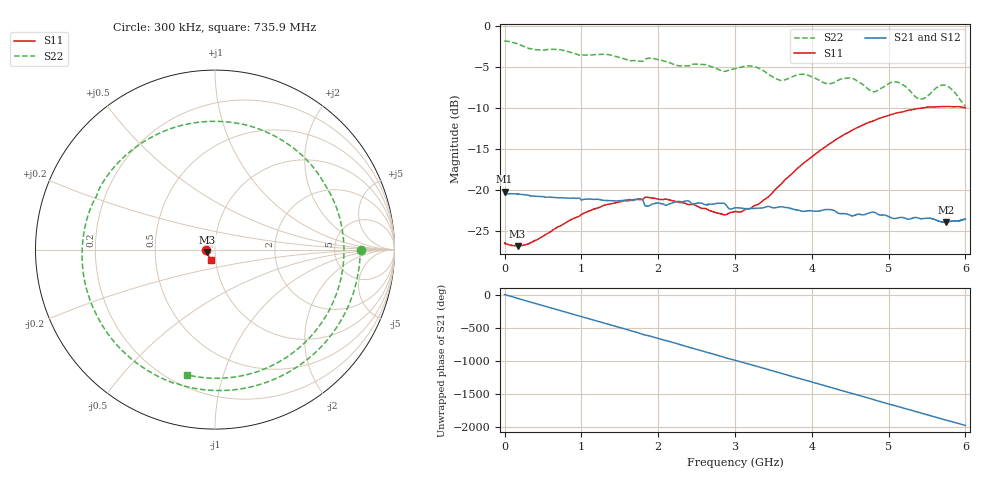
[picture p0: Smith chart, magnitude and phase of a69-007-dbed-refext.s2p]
!  3/18/2021  18:55:14
! Ref Plane: 13.288 mm
# MHZ S MA R  50
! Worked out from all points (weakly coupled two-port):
!   10001 points, 300 kHz to 6 GHz, reference 50 ohm
!   highest |S21| = -20.21 dB at 300 kHz (marker M1); lowest = -24.0 dB at 5.744 GHz (marker M2)
!   lowest |S11| = -26.8 dB at 169.5 MHz (marker M3), VSWR 1.10, Z = 45.9 - j1.34 ohm
!   |S11| at or under -10 dB: start of sweep to 5.441 GHz
!   |S22| runs from -9.8 to -1.8 dB; largest |S21 - S12| = 0.0023
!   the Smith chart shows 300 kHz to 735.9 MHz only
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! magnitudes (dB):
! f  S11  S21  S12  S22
! 300 kHz  -26.5  -20.2  -20.4  -1.8
! 169.5 MHz  -26.8  -20.5  -20.5  -2.2
! 423.9 MHz  -26.1  -20.8  -20.8  -2.9
! 1 GHz  -23.0  -21.2  -21.2  -3.6
! 1.538 GHz  -21.4  -21.3  -21.3  -4.0
! 1.767 GHz  -21.2  -21.1  -21.1  -4.3
! 1.857 GHz  -20.9  -22.0  -22.0  -4.0
! 2.001 GHz  -21.1  -21.6  -21.6  -4.1
! 2.849 GHz  -23.0  -21.6  -21.6  -5.5
! 3 GHz  -22.6  -22.2  -22.2  -5.2
! 3.321 GHz  -21.6  -22.2  -22.2  -5.2
! 3.592 GHz  -19.3  -22.0  -22.0  -6.6
! 3.853 GHz  -17.0  -22.5  -22.5  -5.9
! 4 GHz  -16.0  -22.5  -22.5  -6.2
! 4.214 GHz  -14.5  -22.4  -22.4  -7.0
! 4.52 GHz  -12.7  -23.1  -23.1  -6.4
! 4.802 GHz  -11.6  -22.7  -22.7  -8.0
! 5 GHz  -10.9  -23.2  -23.2  -7.0
! 5.146 GHz  -10.5  -23.3  -23.3  -7.0
! 5.413 GHz  -10.0  -23.5  -23.5  -8.9
! 5.744 GHz  -9.8  -24.0  -23.9  -7.2
! 6 GHz  -10.0  -23.5  -23.5  -9.8
